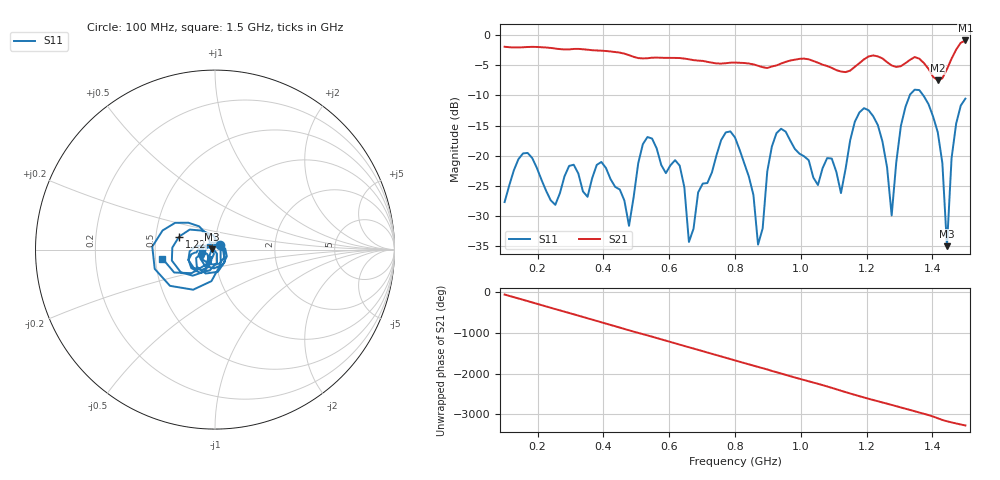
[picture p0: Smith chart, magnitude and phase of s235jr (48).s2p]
! NanoVNA-App
! Date: 2025-09-26 09:45:09
! Start: 100MHz Stop: 1,5GHz Points: 101
! S-Parameter data: F S11 S21 S12 S22
# Hz S RI R 50
!  Frequency  S11_Real  S11_Imag  S21_Real  S21_Imag  S12_Real  S12_Imag  S22_Real  S22_Imag
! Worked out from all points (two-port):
!   101 points, 100 MHz to 1.5 GHz, reference 50 ohm
!   highest |S21| = -0.91 dB at 1.5 GHz (marker M1); lowest = -7.5 dB at 1.416 GHz (marker M2)
!   |S21| within 3 dB of the highest: start of sweep to 645.3 MHz; 1.196 GHz to 1.249 GHz (53.1 MHz wide, 4.35 % of centre)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
!   lowest |S11| = -34.9 dB at 1.444 GHz (marker M3), VSWR 1.04, Z = 48.3 + j0.212 ohm
!   |S11| at or under -10 dB: start of sweep to 1.331 GHz; 1.372 GHz to end of sweep
!   S12 and S22 are empty: the file has one direction only
!   S11 on the Smith chart (normalised r, x): 100 MHz: 1.06, +0.06; 1.22 GHz: 0.66, +0.10; 1.5 GHz: 0.54, -0.06
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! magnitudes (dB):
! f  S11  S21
! 100 MHz  -27.6  -2.0
! 156 MHz  -19.6  -2.0
! 338 MHz  -25.9  -2.4
! 394 MHz  -21.0  -2.6
! 478 MHz  -31.6  -3.3
! 520 MHz  -18.1  -3.9
! 576 MHz  -21.5  -3.8
! 632 MHz  -21.6  -3.8
! 660 MHz  -34.3  -4.0
! 800 MHz  -17.0  -4.6
! 870 MHz  -34.7  -5.1
! 926 MHz  -16.3  -5.0
! 1.038 GHz  -23.6  -4.3
! 1.122 GHz  -26.2  -6.1
! 1.164 GHz  -14.4  -5.3
! 1.22 GHz  -13.5  -3.4
! 1.276 GHz  -29.9  -5.1
! 1.332 GHz  -9.8  -4.1
! 1.416 GHz  -16.1  -7.5
! 1.444 GHz  -34.9  -5.7
! 1.458 GHz  -20.4  -3.9
! 1.5 GHz  -10.5  -0.9
